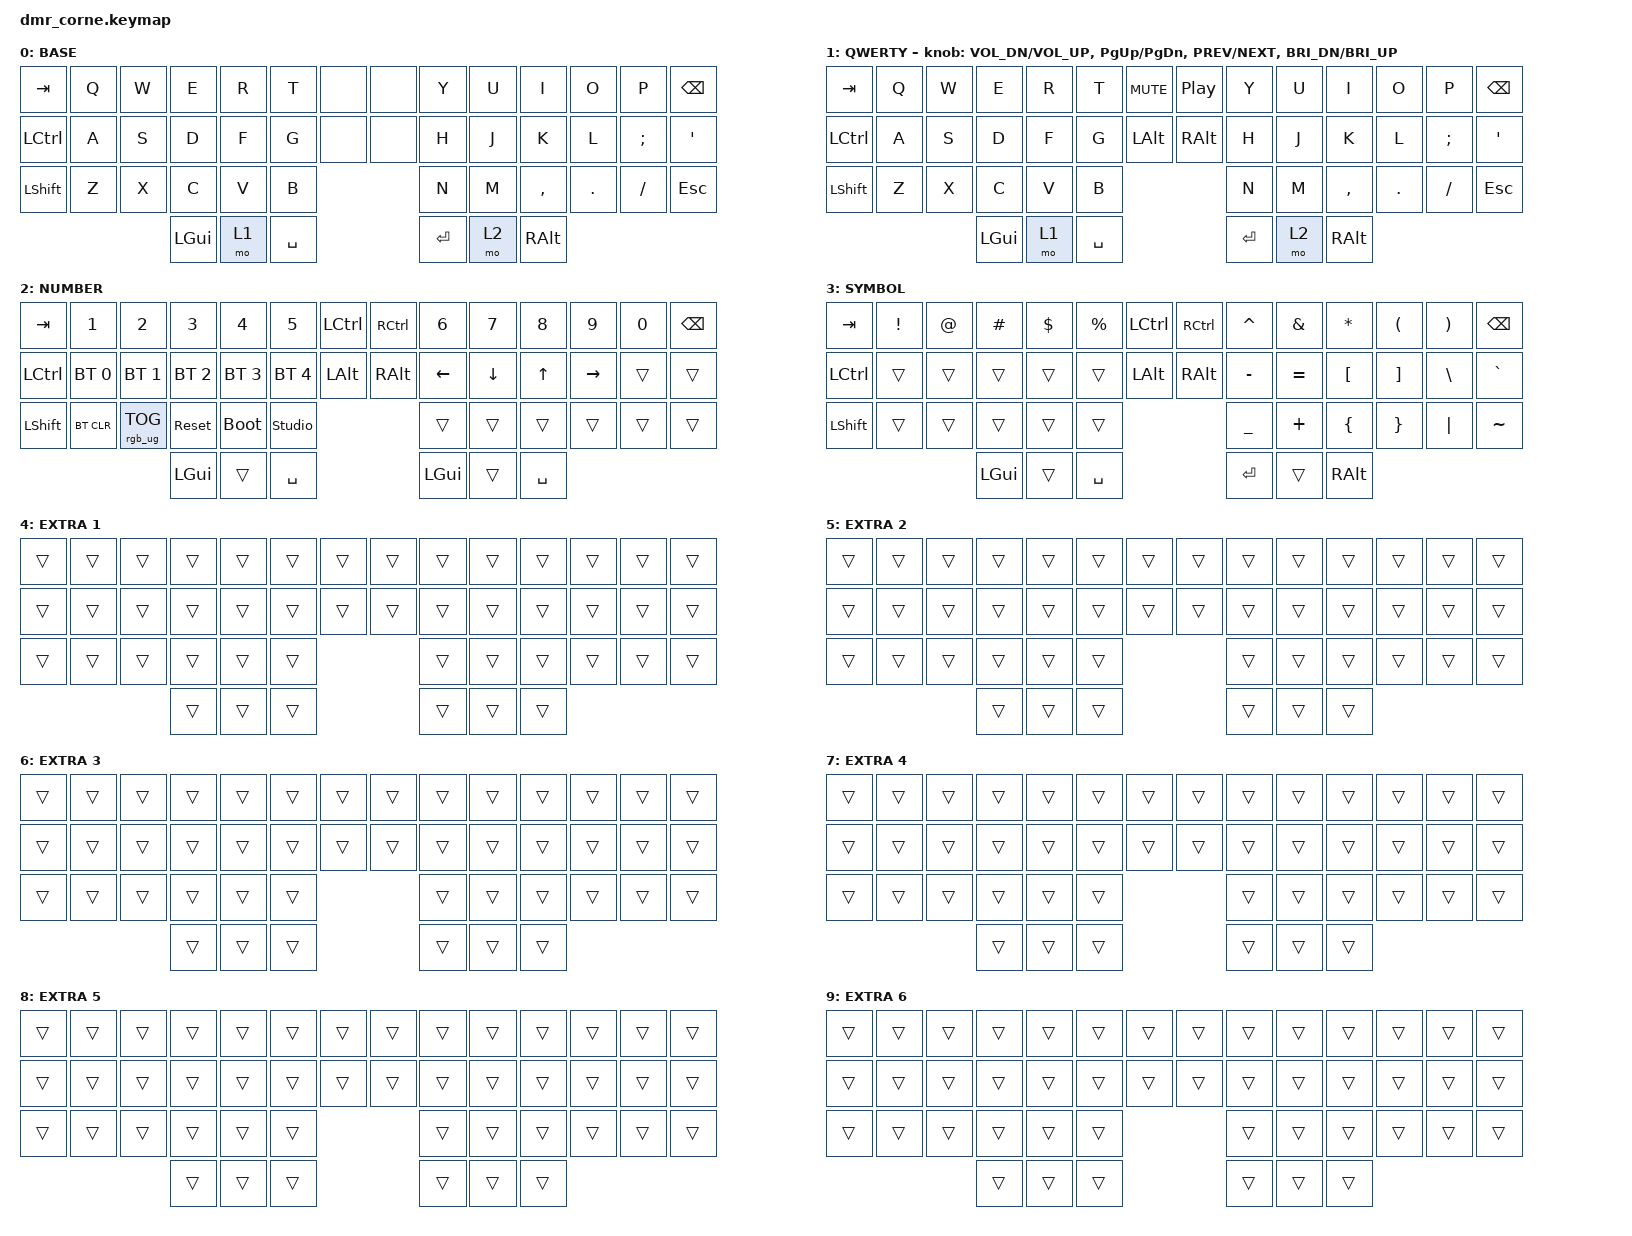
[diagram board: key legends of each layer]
/*
 * Copyright (c) 2020 The ZMK Contributors
 *
 * SPDX-License-Identifier: MIT
 */

#include <behaviors.dtsi>
#include <dt-bindings/zmk/keys.h>
#include <dt-bindings/zmk/bt.h>
#include <dt-bindings/zmk/rgb.h>

/ {
    chosen {
        zmk,physical-layout = &default_layout;
    };
};

/ {
    keymap {
        compatible = "zmk,keymap";

        dmr_base {
            display-name = "BASE";
            bindings = <
                &kp TAB   &kp Q &kp W &kp E &kp R &kp T &none  &none  &kp Y &kp U  &kp I     &kp O   &kp P    &kp BSPC
                &kp LCTRL &kp A &kp S &kp D &kp F &kp G &none  &none  &kp H &kp J  &kp K     &kp L   &kp SEMI &kp SQT
                &kp LSHFT &kp Z &kp X &kp C &kp V &kp B               &kp N &kp M  &kp COMMA &kp DOT &kp FSLH &kp ESC
                                      &kp LGUI &mo 1 &kp SPACE        &kp RET &mo 2 &kp RALT
            >;
        };

        default_layer {
            display-name = "QWERTY";
            // --------------------------------------------------------------------------------
            // |  TAB |  Q  |  W  |  E  |  R  |  T  |  MUTE |  PP   |  Y  |  U   |  I  |  O  |  P  | BSPC |
            // | CTRL |  A  |  S  |  D  |  F  |  G  |  LALT |  RALT |  H  |  J   |  K  |  L  |  ;  |  '   |
            // | SHFT |  Z  |  X  |  C  |  V  |  B  |               |  N  |  M   |  ,  |  .  |  /  | ESC  |
            //                    | GUI | LWR | SPC |               | ENT | RSE  | ALT |
            bindings = <
                &kp TAB   &kp Q &kp W &kp E &kp R &kp T &kp C_MUTE &kp C_PP &kp Y &kp U  &kp I     &kp O   &kp P    &kp BSPC
                &kp LCTRL &kp A &kp S &kp D &kp F &kp G &kp LALT   &kp RALT &kp H &kp J  &kp K     &kp L   &kp SEMI &kp SQT
                &kp LSHFT &kp Z &kp X &kp C &kp V &kp B                     &kp N &kp M  &kp COMMA &kp DOT &kp FSLH &kp ESC
                                      &kp LGUI &mo 1 &kp SPACE              &kp RET &mo 2 &kp RALT
            >;
            sensor-bindings = <&inc_dec_kp C_VOL_DN C_VOL_UP &inc_dec_kp PG_UP PG_DN &inc_dec_kp C_PREV C_NEXT &inc_dec_kp C_BRI_DN C_BRI_UP>;
        };

        lower_layer {
            display-name = "NUMBER";
            // -----------------------------------------------------------------------------------------
            // |  TAB |  1  |  2  |  3  |  4  |  5    |  LCTRL | RCTRL |  6  |  7  |  8  |  9  |  0  | BSPC |
            // | CTRL | BT1 | BT2 | BT3 | BT4 | BT5   |  LALT  | RALT  | LFT | DWN |  UP | RGT |     |      |
            // | SHFT | BTCR| RGB | RST | BOOT| Unlock|        |       |     |     |     |     |     |      |
            //                    | GUI |     | SPC   |        | ENT   |     | ALT |
            bindings = <
                &kp TAB   &kp N1       &kp N2          &kp N3       &kp N4       &kp N5       &kp LCTRL &kp RCTRL &kp N6   &kp N7   &kp N8 &kp N9    &kp N0 &kp BSPC
                &kp LCTRL &bt BT_SEL 0 &bt BT_SEL 1    &bt BT_SEL 2 &bt BT_SEL 3 &bt BT_SEL 4 &kp LALT  &kp RALT  &kp LEFT &kp DOWN &kp UP &kp RIGHT &trans &trans
                &kp LSHFT &bt BT_CLR   &rgb_ug RGB_TOG &sys_reset   &bootloader  &studio_unlock                   &trans   &trans   &trans &trans    &trans &trans
                                                       &kp LGUI     &trans       &kp SPACE                        &kp LGUI &trans   &kp SPACE
            >;
        };

        raise_layer {
            display-name = "SYMBOL";
            // -----------------------------------------------------------------------------------------
            // |  TAB |  !  |  @  |  #  |  $  |  %  | LCTRL | RCTRL |  ^  |  &  |  *  |  (  |  )  | BSPC |
            // | CTRL |     |     |     |     |     |  LALT | RALT  |  -  |  =  |  [  |  ]  |  \  |  `   |
            // | SHFT |     |     |     |     |     |               |  _  |  +  |  {  |  }  | "|" |  ~   |
            //                    | GUI |     | SPC |               | ENT |     | ALT |
            bindings = <
                &kp  TAB  &kp EXCL &kp AT &kp HASH &kp DLLR &kp PRCNT &kp LCTRL &kp RCTRL &kp CARET &kp AMPS &kp ASTRK &kp LPAR &kp RPAR &kp BSPC
                &kp LCTRL &trans   &trans &trans   &trans   &trans    &kp LALT  &kp RALT  &kp MINUS &kp EQUAL &kp LBKT &kp RBKT &kp BSLH &kp GRAVE
                &kp LSHFT &trans   &trans &trans   &trans   &trans                        &kp UNDER &kp PLUS  &kp LBRC &kp RBRC &kp PIPE &kp TILDE
                                          &kp LGUI &trans   &kp SPACE                     &kp RET   &trans    &kp RALT
            >;
        };
        default_layer {
            display-name = "QWERTY";
            // --------------------------------------------------------------------------------
            // |  TAB |  Q  |  W  |  E  |  R  |  T  |  MUTE |  PP   |  Y  |  U   |  I  |  O  |  P  | BSPC |
            // | CTRL |  A  |  S  |  D  |  F  |  G  |  LALT |  RALT |  H  |  J   |  K  |  L  |  ;  |  '   |
            // | SHFT |  Z  |  X  |  C  |  V  |  B  |               |  N  |  M   |  ,  |  .  |  /  | ESC  |
            //                    | GUI | LWR | SPC |               | ENT | RSE  | ALT |
            bindings = <
                &kp TAB   &kp Q &kp W &kp E &kp R &kp T &kp C_MUTE &kp C_PP &kp Y &kp U  &kp I     &kp O   &kp P    &kp BSPC
                &kp LCTRL &kp A &kp S &kp D &kp F &kp G &kp LALT   &kp RALT &kp H &kp J  &kp K     &kp L   &kp SEMI &kp SQT
                &kp LSHFT &kp Z &kp X &kp C &kp V &kp B                     &kp N &kp M  &kp COMMA &kp DOT &kp FSLH &kp ESC
                                      &kp LGUI &mo 1 &kp SPACE              &kp RET &mo 2 &kp RALT
            >;
            sensor-bindings = <&inc_dec_kp C_VOL_DN C_VOL_UP &inc_dec_kp PG_UP PG_DN &inc_dec_kp C_PREV C_NEXT &inc_dec_kp C_BRI_DN C_BRI_UP>;
        };

        lower_layer {
            display-name = "NUMBER";
            // -----------------------------------------------------------------------------------------
            // |  TAB |  1  |  2  |  3  |  4  |  5    |  LCTRL | RCTRL |  6  |  7  |  8  |  9  |  0  | BSPC |
            // | CTRL | BT1 | BT2 | BT3 | BT4 | BT5   |  LALT  | RALT  | LFT | DWN |  UP | RGT |     |      |
            // | SHFT | BTCR| RGB | RST | BOOT| Unlock|        |       |     |     |     |     |     |      |
            //                    | GUI |     | SPC   |        | ENT   |     | ALT |
            bindings = <
                &kp TAB   &kp N1       &kp N2          &kp N3       &kp N4       &kp N5       &kp LCTRL &kp RCTRL &kp N6   &kp N7   &kp N8 &kp N9    &kp N0 &kp BSPC
                &kp LCTRL &bt BT_SEL 0 &bt BT_SEL 1    &bt BT_SEL 2 &bt BT_SEL 3 &bt BT_SEL 4 &kp LALT  &kp RALT  &kp LEFT &kp DOWN &kp UP &kp RIGHT &trans &trans
                &kp LSHFT &bt BT_CLR   &rgb_ug RGB_TOG &sys_reset   &bootloader  &studio_unlock                   &trans   &trans   &trans &trans    &trans &trans
                                                       &kp LGUI     &trans       &kp SPACE                        &kp LGUI &trans   &kp SPACE
            >;
        };

        raise_layer {
            display-name = "SYMBOL";
            // -----------------------------------------------------------------------------------------
            // |  TAB |  !  |  @  |  #  |  $  |  %  | LCTRL | RCTRL |  ^  |  &  |  *  |  (  |  )  | BSPC |
            // | CTRL |     |     |     |     |     |  LALT | RALT  |  -  |  =  |  [  |  ]  |  \  |  `   |
            // | SHFT |     |     |     |     |     |               |  _  |  +  |  {  |  }  | "|" |  ~   |
            //                    | GUI |     | SPC |               | ENT |     | ALT |
            bindings = <
                &kp  TAB  &kp EXCL &kp AT &kp HASH &kp DLLR &kp PRCNT &kp LCTRL &kp RCTRL &kp CARET &kp AMPS &kp ASTRK &kp LPAR &kp RPAR &kp BSPC
                &kp LCTRL &trans   &trans &trans   &trans   &trans    &kp LALT  &kp RALT  &kp MINUS &kp EQUAL &kp LBKT &kp RBKT &kp BSLH &kp GRAVE
                &kp LSHFT &trans   &trans &trans   &trans   &trans                        &kp UNDER &kp PLUS  &kp LBRC &kp RBRC &kp PIPE &kp TILDE
                                          &kp LGUI &trans   &kp SPACE                     &kp RET   &trans    &kp RALT
            >;
        };
        default_layer {
            display-name = "QWERTY";
            // --------------------------------------------------------------------------------
            // |  TAB |  Q  |  W  |  E  |  R  |  T  |  MUTE |  PP   |  Y  |  U   |  I  |  O  |  P  | BSPC |
            // | CTRL |  A  |  S  |  D  |  F  |  G  |  LALT |  RALT |  H  |  J   |  K  |  L  |  ;  |  '   |
            // | SHFT |  Z  |  X  |  C  |  V  |  B  |               |  N  |  M   |  ,  |  .  |  /  | ESC  |
            //                    | GUI | LWR | SPC |               | ENT | RSE  | ALT |
            bindings = <
                &kp TAB   &kp Q &kp W &kp E &kp R &kp T &kp C_MUTE &kp C_PP &kp Y &kp U  &kp I     &kp O   &kp P    &kp BSPC
                &kp LCTRL &kp A &kp S &kp D &kp F &kp G &kp LALT   &kp RALT &kp H &kp J  &kp K     &kp L   &kp SEMI &kp SQT
                &kp LSHFT &kp Z &kp X &kp C &kp V &kp B                     &kp N &kp M  &kp COMMA &kp DOT &kp FSLH &kp ESC
                                      &kp LGUI &mo 1 &kp SPACE              &kp RET &mo 2 &kp RALT
            >;
            sensor-bindings = <&inc_dec_kp C_VOL_DN C_VOL_UP &inc_dec_kp PG_UP PG_DN &inc_dec_kp C_PREV C_NEXT &inc_dec_kp C_BRI_DN C_BRI_UP>;
        };

        lower_layer {
            display-name = "NUMBER";
            // -----------------------------------------------------------------------------------------
            // |  TAB |  1  |  2  |  3  |  4  |  5    |  LCTRL | RCTRL |  6  |  7  |  8  |  9  |  0  | BSPC |
            // | CTRL | BT1 | BT2 | BT3 | BT4 | BT5   |  LALT  | RALT  | LFT | DWN |  UP | RGT |     |      |
            // | SHFT | BTCR| RGB | RST | BOOT| Unlock|        |       |     |     |     |     |     |      |
            //                    | GUI |     | SPC   |        | ENT   |     | ALT |
            bindings = <
                &kp TAB   &kp N1       &kp N2          &kp N3       &kp N4       &kp N5       &kp LCTRL &kp RCTRL &kp N6   &kp N7   &kp N8 &kp N9    &kp N0 &kp BSPC
                &kp LCTRL &bt BT_SEL 0 &bt BT_SEL 1    &bt BT_SEL 2 &bt BT_SEL 3 &bt BT_SEL 4 &kp LALT  &kp RALT  &kp LEFT &kp DOWN &kp UP &kp RIGHT &trans &trans
                &kp LSHFT &bt BT_CLR   &rgb_ug RGB_TOG &sys_reset   &bootloader  &studio_unlock                   &trans   &trans   &trans &trans    &trans &trans
                                                       &kp LGUI     &trans       &kp SPACE                        &kp LGUI &trans   &kp SPACE
            >;
        };

        raise_layer {
            display-name = "SYMBOL";
            // -----------------------------------------------------------------------------------------
            // |  TAB |  !  |  @  |  #  |  $  |  %  | LCTRL | RCTRL |  ^  |  &  |  *  |  (  |  )  | BSPC |
            // | CTRL |     |     |     |     |     |  LALT | RALT  |  -  |  =  |  [  |  ]  |  \  |  `   |
            // | SHFT |     |     |     |     |     |               |  _  |  +  |  {  |  }  | "|" |  ~   |
            //                    | GUI |     | SPC |               | ENT |     | ALT |
            bindings = <
                &kp  TAB  &kp EXCL &kp AT &kp HASH &kp DLLR &kp PRCNT &kp LCTRL &kp RCTRL &kp CARET &kp AMPS &kp ASTRK &kp LPAR &kp RPAR &kp BSPC
                &kp LCTRL &trans   &trans &trans   &trans   &trans    &kp LALT  &kp RALT  &kp MINUS &kp EQUAL &kp LBKT &kp RBKT &kp BSLH &kp GRAVE
                &kp LSHFT &trans   &trans &trans   &trans   &trans                        &kp UNDER &kp PLUS  &kp LBRC &kp RBRC &kp PIPE &kp TILDE
                                          &kp LGUI &trans   &kp SPACE                     &kp RET   &trans    &kp RALT
            >;
        };

        extra_layer_1 {
            display-name = "EXTRA 1";
            bindings = <
                &trans &trans &trans &trans &trans &trans &trans &trans &trans &trans &trans &trans &trans &trans
                &trans &trans &trans &trans &trans &trans &trans &trans &trans &trans &trans &trans &trans &trans
                &trans &trans &trans &trans &trans &trans               &trans &trans &trans &trans &trans &trans
                                     &trans &trans &trans               &trans &trans &trans       
            >;
        };

        extra_layer_2 {
            display-name = "EXTRA 2";
            bindings = <
                &trans &trans &trans &trans &trans &trans &trans &trans &trans &trans &trans &trans &trans &trans
                &trans &trans &trans &trans &trans &trans &trans &trans &trans &trans &trans &trans &trans &trans
                &trans &trans &trans &trans &trans &trans               &trans &trans &trans &trans &trans &trans
                                     &trans &trans &trans               &trans &trans &trans       
            >;
        };

        extra_layer_3 {
            display-name = "EXTRA 3";
            bindings = <
                &trans &trans &trans &trans &trans &trans &trans &trans &trans &trans &trans &trans &trans &trans
                &trans &trans &trans &trans &trans &trans &trans &trans &trans &trans &trans &trans &trans &trans
                &trans &trans &trans &trans &trans &trans               &trans &trans &trans &trans &trans &trans
                                     &trans &trans &trans               &trans &trans &trans       
            >;
        };

        extra_layer_4 {
            display-name = "EXTRA 4";
            bindings = <
                &trans &trans &trans &trans &trans &trans &trans &trans &trans &trans &trans &trans &trans &trans
                &trans &trans &trans &trans &trans &trans &trans &trans &trans &trans &trans &trans &trans &trans
                &trans &trans &trans &trans &trans &trans               &trans &trans &trans &trans &trans &trans
                                     &trans &trans &trans               &trans &trans &trans       
            >;
        };

        extra_layer_5 {
            display-name = "EXTRA 5";
            bindings = <
                &trans &trans &trans &trans &trans &trans &trans &trans &trans &trans &trans &trans &trans &trans
                &trans &trans &trans &trans &trans &trans &trans &trans &trans &trans &trans &trans &trans &trans
                &trans &trans &trans &trans &trans &trans               &trans &trans &trans &trans &trans &trans
                                     &trans &trans &trans               &trans &trans &trans       
            >;
        };

        extra_layer_6 {
            display-name = "EXTRA 6";
            bindings = <
                &trans &trans &trans &trans &trans &trans &trans &trans &trans &trans &trans &trans &trans &trans
                &trans &trans &trans &trans &trans &trans &trans &trans &trans &trans &trans &trans &trans &trans
                &trans &trans &trans &trans &trans &trans               &trans &trans &trans &trans &trans &trans
                                     &trans &trans &trans               &trans &trans &trans       
            >;
        };
    };
};
